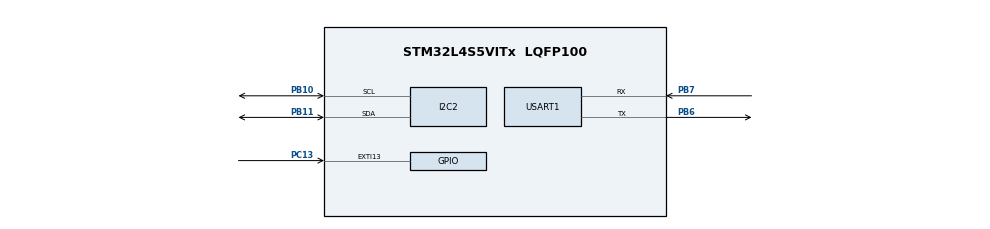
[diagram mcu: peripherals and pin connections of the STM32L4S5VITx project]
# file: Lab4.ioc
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FREERTOS.Tasks01=defaultTask,0,128,StartDefaultTask,Default,NULL,Dynamic,NULL,NULL;transmit_to_UAR,0,512,StartUartTask,Default,NULL,Dynamic,NULL,NULL;read_sensor,0,512,StartSensorTask,Default,NULL,Dynamic,NULL,NULL
FREERTOS.configTOTAL_HEAP_SIZE=640000
I2C2.Timing=0x00100D14
Mcu.Family=STM32L4
Mcu.Name=STM32L4S5VITx
Mcu.Package=LQFP100
NVIC.EXTI15_10_IRQn=true\:5\:0\:false\:false\:true\:false\:true\:true\:true
NVIC.PriorityGroup=NVIC_PRIORITYGROUP_4
NVIC.TIM6_DAC_IRQn=true\:15\:0\:false\:false\:true\:false\:false\:true\:true
NVIC.TimeBase=TIM6_DAC_IRQn
NVIC.TimeBaseIP=TIM6
PB10.Mode=I2C
PB10.Signal=I2C2_SCL
PB11.Mode=I2C
PB11.Signal=I2C2_SDA
PB6.Mode=Asynchronous
PB6.Signal=USART1_TX
PB7.Mode=Asynchronous
PB7.Signal=USART1_RX
PC13.Signal=GPXTI13
ProjectManager.HeapSize=0x200
ProjectManager.StackSize=0x400
ProjectManager.TargetToolchain=CMake
RCC.HSE_VALUE=8000000
RCC.HSI48_VALUE=48000000
RCC.HSI_VALUE=16000000
RCC.LSE_VALUE=32768
RCC.MSI_VALUE=4000000
RCC.VCOOutputFreq_Value=32000000
USART1.VirtualMode-Asynchronous=VM_ASYNC
VP_FREERTOS_VS_CMSIS_V1.Mode=CMSIS_V1
VP_SYS_VS_tim6.Mode=TIM6
board=custom

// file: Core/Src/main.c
/* USER CODE BEGIN Header */
/**
  ******************************************************************************
  * @file           : main.c
  * @brief          : Main program body
  ******************************************************************************
  * @attention
  *
  * Copyright (c) 2026 STMicroelectronics.
  * All rights reserved.
  *
  * This software is licensed under terms that can be found in the LICENSE file
  * in the root directory of this software component.
  * If no LICENSE file comes with this software, it is provided AS-IS.
  *
  ******************************************************************************
  */
/* USER CODE END Header */
#include "main.h"
#include "cmsis_os.h"

/* USER CODE BEGIN Includes */
#include <stdio.h>
#include "stm32l4s5i_iot01.h"
#include "hts221.h"
#include "lis3mdl.h"
#include "lps22hb.h"
#include "lsm6dsl.h"
#include <string.h>
/* USER CODE END Includes */

I2C_HandleTypeDef hi2c2;

UART_HandleTypeDef huart1;

osThreadId defaultTaskHandle;
osThreadId transmit_to_UARHandle;
osThreadId read_sensorHandle;
/* USER CODE BEGIN PV */
osThreadId sensorTaskHandle;
osThreadId uartTaskHandle;
osMutexId  msgMutexHandle;
osSemaphoreId buttonSemHandle;
osSemaphoreId dataReadySemHandle;

static char msg_buf[64];   // text shared between sensor task and UART task
static int  msg_len = 0;
/* USER CODE END PV */

void SystemClock_Config(void);
static void MX_GPIO_Init(void);
static void MX_I2C2_Init(void);
static void MX_USART1_UART_Init(void);
void StartDefaultTask(void const * argument);
void StartUartTask(void const * argument);
void StartSensorTask(void const * argument);

/* USER CODE BEGIN PFP */
void StartSensorTask(void const * argument);
void StartUartTask(void const * argument);
/* USER CODE END PFP */

/* USER CODE BEGIN 0 */
typedef enum {MODE_HTS221, MODE_LIS3MDL, MODE_LSM6DSL, MODE_LPS22HB} SensorMode;
volatile SensorMode sensor_mode = MODE_HTS221;

float ReadHumidity(void)
{
  return HTS221_H_ReadHumidity(HTS221_I2C_ADDRESS);
}

void ReadMagnetometer(int16_t m[3])
{
  LIS3MDL_MagReadXYZ(m);
}

void ReadGyroscope(float g[3])
{
  LSM6DSL_GyroReadXYZAngRate(g);
}

float ReadPressure(void)
{
  return LPS22HB_P_ReadPressure(LPS22HB_I2C_ADDRESS);
}

void HAL_GPIO_EXTI_Callback(uint16_t GPIO_Pin)
{

  if (GPIO_Pin == GPIO_PIN_13)
  {
    static uint32_t lastPress = 0;
    uint32_t currentPress = HAL_GetTick(); // get the current time in milliseconds
    if (currentPress - lastPress > 50 && buttonSemHandle != NULL) { // debounce and check if semaphore is valid
      osSemaphoreRelease(buttonSemHandle); //wake button task
    }
    lastPress = currentPress; // update the last press time
  }
}

/* USER CODE END 0 */

int main(void)
{

  /* MCU Configuration--------------------------------------------------------*/

  /* Reset of all peripherals, Initializes the Flash interface and the Systick. */
  HAL_Init();

  /* Configure the system clock */
  SystemClock_Config();

  /* Initialize all configured peripherals */
  MX_GPIO_Init();
  MX_I2C2_Init();
  MX_USART1_UART_Init();
  /* USER CODE BEGIN 2 */
  SENSOR_IO_Init();

  HTS221_H_Init(HTS221_I2C_ADDRESS);
  HTS221_T_Init(HTS221_I2C_ADDRESS, NULL);
  LPS22HB_P_Init(LPS22HB_I2C_ADDRESS);
  LPS22HB_T_Init(LPS22HB_I2C_ADDRESS, NULL);

  LSM6DSL_AccInit(
      ((uint16_t)LSM6DSL_BDU_BLOCK_UPDATE | LSM6DSL_ACC_GYRO_IF_INC_ENABLED << 8) |
      LSM6DSL_ODR_104Hz |
      LSM6DSL_ACC_FULLSCALE_2G);
  LSM6DSL_GyroInit(
      ((uint16_t)LSM6DSL_BDU_BLOCK_UPDATE | LSM6DSL_ACC_GYRO_IF_INC_ENABLED << 8) |
      LSM6DSL_ODR_104Hz |
      LSM6DSL_GYRO_FS_245);

  MAGNETO_InitTypeDef magnetometer_init = {
      .Register1 = LIS3MDL_MAG_TEMPSENSOR_ENABLE |
                   LIS3MDL_MAG_OM_XY_HIGH |
                   LIS3MDL_MAG_ODR_80_HZ,
      .Register2 = LIS3MDL_MAG_FS_4_GA,
      .Register3 = LIS3MDL_MAG_CONTINUOUS_MODE,
      .Register4 = LIS3MDL_MAG_OM_Z_HIGH,
      .Register5 = LIS3MDL_MAG_BDU_MSBLSB};
  LIS3MDL_MagInit(magnetometer_init);

  /* USER CODE END 2 */

  /* USER CODE BEGIN RTOS_MUTEX */
  osMutexDef(msgMutex);
  msgMutexHandle = osMutexCreate(osMutex(msgMutex));
  /* USER CODE END RTOS_MUTEX */

  /* USER CODE BEGIN RTOS_SEMAPHORES */
  osSemaphoreDef(buttonSem);
  buttonSemHandle = osSemaphoreCreate(osSemaphore(buttonSem), 1);
  osSemaphoreWait(buttonSemHandle, 0); // start empty

  osSemaphoreDef(dataReadySem);
  dataReadySemHandle = osSemaphoreCreate(osSemaphore(dataReadySem), 1);
  osSemaphoreWait(dataReadySemHandle, 0); // start empty
  /* USER CODE END RTOS_SEMAPHORES */

  /* Create the thread(s) */
  /* definition and creation of defaultTask */
  osThreadDef(defaultTask, StartDefaultTask, osPriorityNormal, 0, 128);
  defaultTaskHandle = osThreadCreate(osThread(defaultTask), NULL);

  /* definition and creation of transmit_to_UAR */
  osThreadDef(transmit_to_UAR, StartUartTask, osPriorityNormal, 0, 512);
  transmit_to_UARHandle = osThreadCreate(osThread(transmit_to_UAR), NULL);

  /* definition and creation of read_sensor */
  osThreadDef(read_sensor, StartSensorTask, osPriorityNormal, 0, 512);
  read_sensorHandle = osThreadCreate(osThread(read_sensor), NULL);

  /* USER CODE BEGIN RTOS_THREADS */
  // osThreadDef(sensorTask, StartSensorTask, osPriorityNormal, 0, 512);
  // sensorTaskHandle = osThreadCreate(osThread(sensorTask), NULL);

  // osThreadDef(uartTask, StartUartTask, osPriorityNormal, 0, 512);
  // uartTaskHandle = osThreadCreate(osThread(uartTask), NULL);
  /* USER CODE END RTOS_THREADS */

  /* Start scheduler */
  osKernelStart();

  /* We should never get here as control is now taken by the scheduler */

  /* Infinite loop */
  while (1)
  {

  }
}

void SystemClock_Config(void)
{
  RCC_OscInitTypeDef RCC_OscInitStruct = {0};
  RCC_ClkInitTypeDef RCC_ClkInitStruct = {0};

  /** Configure the main internal regulator output voltage
  */
  if (HAL_PWREx_ControlVoltageScaling(PWR_REGULATOR_VOLTAGE_SCALE1) != HAL_OK)
  {
    Error_Handler();
  }

  /** Initializes the RCC Oscillators according to the specified parameters
  * in the RCC_OscInitTypeDef structure.
  */
  RCC_OscInitStruct.OscillatorType = RCC_OSCILLATORTYPE_MSI;
  RCC_OscInitStruct.MSIState = RCC_MSI_ON;
  RCC_OscInitStruct.MSICalibrationValue = 0;
  RCC_OscInitStruct.MSIClockRange = RCC_MSIRANGE_6;
  RCC_OscInitStruct.PLL.PLLState = RCC_PLL_NONE;
  if (HAL_RCC_OscConfig(&RCC_OscInitStruct) != HAL_OK)
  {
    Error_Handler();
  }

  /** Initializes the CPU, AHB and APB buses clocks
  */
  RCC_ClkInitStruct.ClockType = RCC_CLOCKTYPE_HCLK|RCC_CLOCKTYPE_SYSCLK
                              |RCC_CLOCKTYPE_PCLK1|RCC_CLOCKTYPE_PCLK2;
  RCC_ClkInitStruct.SYSCLKSource = RCC_SYSCLKSOURCE_MSI;
  RCC_ClkInitStruct.AHBCLKDivider = RCC_SYSCLK_DIV1;
  RCC_ClkInitStruct.APB1CLKDivider = RCC_HCLK_DIV1;
  RCC_ClkInitStruct.APB2CLKDivider = RCC_HCLK_DIV1;

  if (HAL_RCC_ClockConfig(&RCC_ClkInitStruct, FLASH_LATENCY_0) != HAL_OK)
  {
    Error_Handler();
  }
}

static void MX_I2C2_Init(void)
{

  hi2c2.Instance = I2C2;
  hi2c2.Init.Timing = 0x00100D14;
  hi2c2.Init.OwnAddress1 = 0;
  hi2c2.Init.AddressingMode = I2C_ADDRESSINGMODE_7BIT;
  hi2c2.Init.DualAddressMode = I2C_DUALADDRESS_DISABLE;
  hi2c2.Init.OwnAddress2 = 0;
  hi2c2.Init.OwnAddress2Masks = I2C_OA2_NOMASK;
  hi2c2.Init.GeneralCallMode = I2C_GENERALCALL_DISABLE;
  hi2c2.Init.NoStretchMode = I2C_NOSTRETCH_DISABLE;
  if (HAL_I2C_Init(&hi2c2) != HAL_OK)
  {
    Error_Handler();
  }

  /** Configure Analogue filter
  */
  if (HAL_I2CEx_ConfigAnalogFilter(&hi2c2, I2C_ANALOGFILTER_ENABLE) != HAL_OK)
  {
    Error_Handler();
  }

  /** Configure Digital filter
  */
  if (HAL_I2CEx_ConfigDigitalFilter(&hi2c2, 0) != HAL_OK)
  {
    Error_Handler();
  }

}

static void MX_USART1_UART_Init(void)
{

  huart1.Instance = USART1;
  huart1.Init.BaudRate = 115200;
  huart1.Init.WordLength = UART_WORDLENGTH_8B;
  huart1.Init.StopBits = UART_STOPBITS_1;
  huart1.Init.Parity = UART_PARITY_NONE;
  huart1.Init.Mode = UART_MODE_TX_RX;
  huart1.Init.HwFlowCtl = UART_HWCONTROL_NONE;
  huart1.Init.OverSampling = UART_OVERSAMPLING_16;
  huart1.Init.OneBitSampling = UART_ONE_BIT_SAMPLE_DISABLE;
  huart1.Init.ClockPrescaler = UART_PRESCALER_DIV1;
  huart1.AdvancedInit.AdvFeatureInit = UART_ADVFEATURE_NO_INIT;
  if (HAL_UART_Init(&huart1) != HAL_OK)
  {
    Error_Handler();
  }
  if (HAL_UARTEx_SetTxFifoThreshold(&huart1, UART_TXFIFO_THRESHOLD_1_8) != HAL_OK)
  {
    Error_Handler();
  }
  if (HAL_UARTEx_SetRxFifoThreshold(&huart1, UART_RXFIFO_THRESHOLD_1_8) != HAL_OK)
  {
    Error_Handler();
  }
  if (HAL_UARTEx_DisableFifoMode(&huart1) != HAL_OK)
  {
    Error_Handler();
  }

}

static void MX_GPIO_Init(void)
{
  GPIO_InitTypeDef GPIO_InitStruct = {0};

  /* GPIO Ports Clock Enable */
  __HAL_RCC_GPIOC_CLK_ENABLE();
  __HAL_RCC_GPIOB_CLK_ENABLE();

  /*Configure GPIO pin : PC13 */
  GPIO_InitStruct.Pin = GPIO_PIN_13;
  GPIO_InitStruct.Mode = GPIO_MODE_IT_RISING;
  GPIO_InitStruct.Pull = GPIO_NOPULL;
  HAL_GPIO_Init(GPIOC, &GPIO_InitStruct);

  /* EXTI interrupt init*/
  HAL_NVIC_SetPriority(EXTI15_10_IRQn, 5, 0);
  HAL_NVIC_EnableIRQ(EXTI15_10_IRQn);

}

void StartDefaultTask(void const * argument)
{
  /* USER CODE BEGIN 5 */
  /* Infinite loop */
  for(;;)
  {
    osDelay(1);
    if(osSemaphoreWait(buttonSemHandle, osWaitForever) == osOK) {
      sensor_mode = (sensor_mode + 1) % 4;
    }
  }
  /* USER CODE END 5 */
}

void StartUartTask(void const * argument)
{
  /* USER CODE BEGIN StartUartTask */
  char buf[64];
  int len;

  for(;;) {
    osDelay(1);

    //wait for data to be ready from the sensor task, when osOK -> data is ready, got the semaphore
    if(osSemaphoreWait(dataReadySemHandle, osWaitForever) == osOK) {
      osMutexWait(msgMutexHandle, osWaitForever);
      len = msg_len;
      memcpy(buf, msg_buf, len);
      osMutexRelease(msgMutexHandle);
      HAL_UART_Transmit(&huart1, (uint8_t *)buf, len, HAL_MAX_DELAY);
    }

  }
  /* USER CODE END StartUartTask */
}

void StartSensorTask(void const * argument)
{
  /* USER CODE BEGIN StartSensorTask */
  char buf[64];
  int len;

  for(;;) {
    osDelay(100);

    float humidity = ReadHumidity();

    int16_t m[3];
    ReadMagnetometer(m);

    float g[3];
    ReadGyroscope(g);

    float pressure = ReadPressure();

    len = 0;
    switch (sensor_mode) {
      case MODE_HTS221: {
        len = snprintf(buf, sizeof buf, "Humidity: %d\r\n", (int)(humidity * 100));
        break;
      }
      case MODE_LIS3MDL: {
        len = snprintf(buf, sizeof buf, "Magnitude: %d, %d, %d\r\n", m[0], m[1], m[2]);
        break;
      }
      case MODE_LSM6DSL: {
        len = snprintf(buf, sizeof buf, "Gyroscope: %d, %d, %d\r\n", (int)g[0], (int)g[1], (int)g[2]);
        break;
      }
      case MODE_LPS22HB: {
        len = snprintf(buf, sizeof buf, "Pressure: %d\r\n", (int)(pressure * 100));
        break;
      }
      default:
        break;
    }

    if (len > 0) {
      if (len >= (int)sizeof buf) {
        len = sizeof buf - 1;
      }
      osMutexWait(msgMutexHandle, osWaitForever);
      memcpy(msg_buf, buf, len);
      msg_len = len;
      osMutexRelease(msgMutexHandle);
      osSemaphoreRelease(dataReadySemHandle);
    }
  }
  /* USER CODE END StartSensorTask */
}

void HAL_TIM_PeriodElapsedCallback(TIM_HandleTypeDef *htim)
{
  if (htim->Instance == TIM6)
  {
    HAL_IncTick();
  }
}

void Error_Handler(void)
{
  __disable_irq();
  while (1)
  {
  }
}
